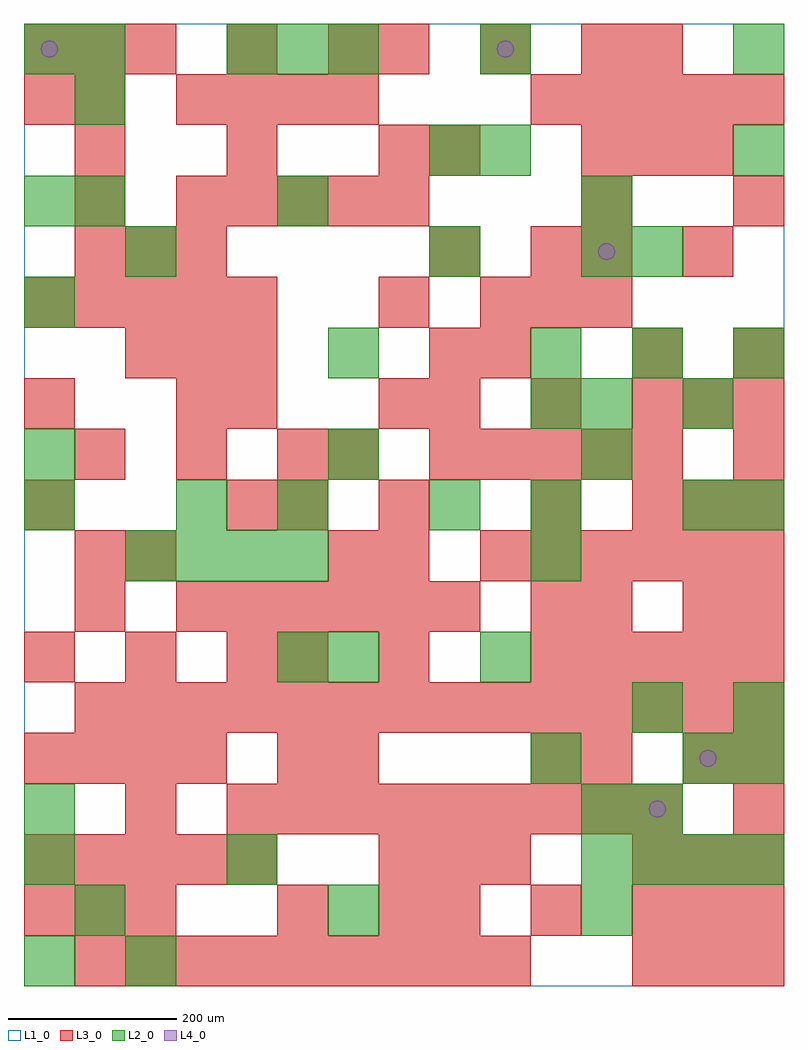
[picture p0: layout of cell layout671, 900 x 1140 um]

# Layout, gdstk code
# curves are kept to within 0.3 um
import gdstk
lib = gdstk.Library(unit=1e-6, precision=1e-09)
def R(c, l, rs):  # rectangles x0, y0, x1, y1
    for r in rs: c.add(gdstk.rectangle(r[:2], r[2:], *l))
def A(c, l, x, y, w, h, nx, ny, dx, dy):  # array of equal rectangles
    R(c, l, [(x+i*dx, y+j*dy, x+i*dx+w, y+j*dy+h) for i in range(nx) for j in range(ny)])
def P(c, l, *ps):  # polygons
    for p in ps: c.add(gdstk.Polygon(p, *l))
L1_0 = (1, 0)
L2_0 = (2, 0)
L3_0 = (3, 0)
L4_0 = (4, 0)

layout671 = lib.new_cell('layout671')
R(layout671, L1_0, [(0,0,900,1140)])
A(layout671, L2_0, 60, 60, 60, 60, 3, 1, 300, 0)
A(layout671, L2_0, 660, 120, 60, 60, 4, 1, 60, 0)
A(layout671, L2_0, 120, 480, 60, 60, 4, 1, 60, 0)
A(layout671, L2_0, 600, 720, 60, 60, 3, 1, 120, 0)
A(layout671, L2_0, 240, 1080, 60, 60, 3, 1, 60, 0)
R(layout671, L2_0, [(0,0,60,60), (120,0,180,60), (0,120,60,180), (240,120,300,180), (0,180,60,240), (660,180,720,240), (720,180,780,240), (600,240,660,300), (780,240,840,300), (840,240,900,300), (720,300,780,360), (840,300,900,360), (300,360,360,420), (360,360,420,420), (540,360,600,420), (600,480,660,540), (0,540,60,600), (180,540,240,600), (300,540,360,600), (480,540,540,600), (600,540,660,600), (780,540,840,600), (840,540,900,600), (0,600,60,660), (360,600,420,660), (660,600,720,660), (600,660,660,720), (660,660,720,720), (780,660,840,720), (360,720,420,780), (0,780,60,840), (120,840,180,900), (480,840,540,900), (660,840,720,900), (720,840,780,900), (0,900,60,960), (60,900,120,960), (300,900,360,960), (660,900,720,960), (480,960,540,1020), (540,960,600,1020), (840,960,900,1020), (60,1020,120,1080), (0,1080,60,1140), (60,1080,120,1140), (540,1080,600,1140), (840,1080,900,1140)])
A(layout671, L3_0, 60, 0, 60, 60, 9, 1, 60, 0)
A(layout671, L3_0, 720, 0, 60, 60, 3, 2, 60, 120)
A(layout671, L3_0, 0, 60, 60, 60, 3, 2, 60, 1020)
A(layout671, L3_0, 480, 60, 60, 60, 3, 2, 120, 600)
A(layout671, L3_0, 780, 60, 60, 60, 1, 3, 0, 180)
A(layout671, L3_0, 0, 120, 60, 60, 5, 2, 60, 660)
A(layout671, L3_0, 420, 120, 60, 60, 3, 1, 60, 0)
A(layout671, L3_0, 240, 180, 60, 60, 9, 1, 60, 0)
A(layout671, L3_0, 0, 240, 60, 60, 4, 1, 60, 0)
A(layout671, L3_0, 840, 240, 60, 60, 1, 3, 0, 180)
A(layout671, L3_0, 60, 300, 60, 60, 14, 1, 60, 0)
A(layout671, L3_0, 0, 360, 60, 60, 3, 1, 120, 0)
A(layout671, L3_0, 600, 360, 60, 60, 5, 2, 60, 660)
A(layout671, L3_0, 180, 420, 60, 60, 6, 1, 60, 0)
A(layout671, L3_0, 540, 480, 60, 60, 6, 1, 60, 0)
A(layout671, L3_0, 420, 540, 60, 60, 1, 3, 0, 120)
A(layout671, L3_0, 720, 540, 60, 60, 3, 1, 60, 0)
A(layout671, L3_0, 60, 600, 60, 60, 3, 1, 120, 0)
A(layout671, L3_0, 480, 600, 60, 60, 5, 1, 60, 0)
A(layout671, L3_0, 120, 720, 60, 60, 3, 1, 60, 0)
A(layout671, L3_0, 480, 720, 60, 60, 1, 3, 0, 120)
A(layout671, L3_0, 540, 780, 60, 60, 3, 1, 60, 0)
A(layout671, L3_0, 60, 840, 60, 60, 3, 1, 60, 0)
A(layout671, L3_0, 180, 900, 60, 60, 5, 1, 60, 0)
A(layout671, L3_0, 60, 960, 60, 60, 3, 1, 180, 0)
A(layout671, L3_0, 660, 960, 60, 60, 3, 1, 60, 0)
A(layout671, L3_0, 180, 1020, 60, 60, 4, 1, 60, 0)
A(layout671, L3_0, 420, 1080, 60, 60, 3, 1, 120, 0)
R(layout671, L3_0, [(300,60,360,120), (420,60,480,120), (840,60,900,120), (120,180,180,240), (840,180,900,240), (300,240,360,300), (360,240,420,300), (600,240,660,300), (660,240,720,300), (300,360,360,420), (420,360,480,420), (60,420,120,480), (600,420,660,480), (660,420,720,480), (60,480,120,540), (120,480,180,540), (360,480,420,540), (420,480,480,540), (0,540,60,600), (240,540,300,600), (300,540,360,600), (600,540,660,600), (360,600,420,660), (0,660,60,720), (180,660,240,720), (240,660,300,720), (780,660,840,720), (840,660,900,720), (540,720,600,780), (720,720,780,780), (840,720,900,780), (600,840,660,900), (660,840,720,900), (780,840,840,900), (60,900,120,960), (660,900,720,960), (840,900,900,960), (0,1020,60,1080), (60,1020,120,1080), (240,1080,300,1140), (360,1080,420,1140), (720,1080,780,1140)])
P(layout671, L4_0, [(40,1110),(39.239,1113.827),(37.071,1117.071),(33.827,1119.239),(30,1120),(26.173,1119.239),(22.929,1117.071),(20.761,1113.827),(20,1110),(20.761,1106.173),(22.929,1102.929),(26.173,1100.761),(30,1100),(33.827,1100.761),(37.071,1102.929),(39.239,1106.173)],
  [(580,1110),(579.239,1113.827),(577.071,1117.071),(573.827,1119.239),(570,1120),(566.173,1119.239),(562.929,1117.071),(560.761,1113.827),(560,1110),(560.761,1106.173),(562.929,1102.929),(566.173,1100.761),(570,1100),(573.827,1100.761),(577.071,1102.929),(579.239,1106.173)],
  [(700,870),(699.239,873.827),(697.071,877.071),(693.827,879.239),(690,880),(686.173,879.239),(682.929,877.071),(680.761,873.827),(680,870),(680.761,866.173),(682.929,862.929),(686.173,860.761),(690,860),(693.827,860.761),(697.071,862.929),(699.239,866.173)],
  [(760,210),(759.239,213.827),(757.071,217.071),(753.827,219.239),(750,220),(746.173,219.239),(742.929,217.071),(740.761,213.827),(740,210),(740.761,206.173),(742.929,202.929),(746.173,200.761),(750,200),(753.827,200.761),(757.071,202.929),(759.239,206.173)],
  [(820,270),(819.239,273.827),(817.071,277.071),(813.827,279.239),(810,280),(806.173,279.239),(802.929,277.071),(800.761,273.827),(800,270),(800.761,266.173),(802.929,262.929),(806.173,260.761),(810,260),(813.827,260.761),(817.071,262.929),(819.239,266.173)])

lib.write_gds('layout671.gds')
